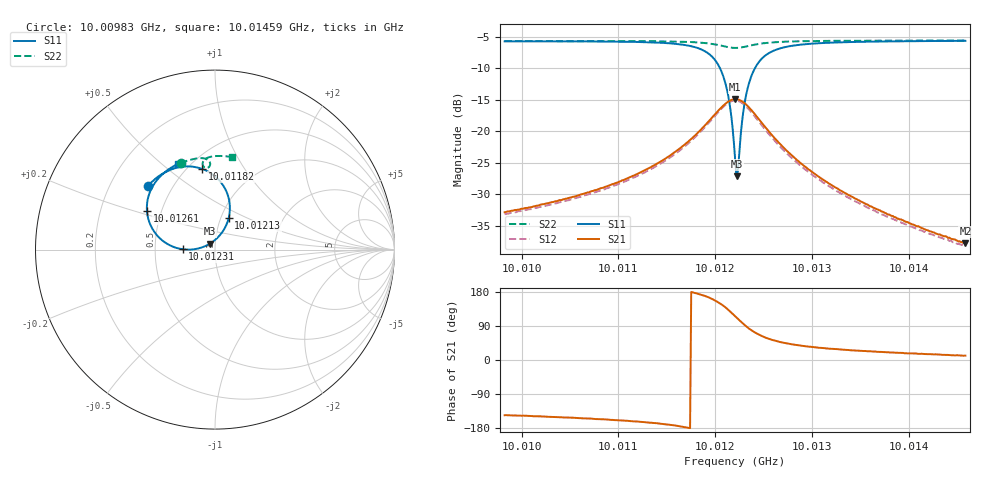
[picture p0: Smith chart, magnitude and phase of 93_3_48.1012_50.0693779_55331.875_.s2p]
#  HZ  S  RI  R  50.00
! Rohde & Schwarz Vector Network Analyzer
! Rohde-Schwarz,ZNB20-2Port,1311601062101988,3.16
! Created: UTC 12/23/2023, 3:44:00 AM
! freq[Hz]  re:S11  im:S11  re:S21  im:S21  re:S12  im:S12  re:S22  im:S22
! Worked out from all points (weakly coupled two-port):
!   401 points, 10.00983 GHz to 10.01459 GHz, reference 50 ohm
!   highest |S21| = -14.92 dB at 10.01221 GHz (marker M1); lowest = -37.8 dB at 10.01459 GHz (marker M2)
!   lowest |S11| = -27.2 dB at 10.01223 GHz (marker M3), VSWR 1.09, Z = 47.1 + j3.06 ohm
!   |S11| at or under -10 dB: 10.01205 GHz to 10.01241 GHz (361.9 kHz wide, 0.00361 % of centre)
!   |S22| runs from -6.8 to -5.6 dB; largest |S21 - S12| = 0.0088
!   S11 on the Smith chart (normalised r, x): 10.00983 GHz: 0.36, +0.35; 10.01182 GHz: 0.59, +0.67; 10.01213 GHz: 1.09, +0.40; 10.01231 GHz: 0.69, +0.00; 10.01261 GHz: 0.42, +0.22; 10.01459 GHz: 0.43, +0.57
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1.0009825e10  -0.3747 0.3545  -0.0187 -0.0128  -0.0174 -0.0133  -0.1921 0.4817
1.0010623e10  -0.319 0.4045  -0.0283 -0.0139  -0.0265 -0.0147  -0.1413 0.4994
1.0011003e10  -0.2805 0.4293  -0.0369 -0.014  -0.0348 -0.0154  -0.115 0.5058
1.001142e10  -0.2138 0.4559  -0.055 -0.0121  -0.0524 -0.0143  -0.0832 0.5098
1.0011825e10  -0.0712 0.4497  -0.0972 0.00929  -0.0944 0.00354  -0.0452 0.5034
1.0011944e10  0.00341 0.4056  -0.1171 0.0334  -0.1155 0.0265  -0.0331 0.494
1.0012027e10  0.0577 0.3365  -0.1279 0.0653  -0.1279 0.057  -0.0273 0.4824
1.0012086e10  0.0815 0.257  -0.1276 0.0962  -0.1286 0.0886  -0.0273 0.4717
1.0012134e10  0.0768 0.1772  -0.1164 0.1255  -0.119 0.1175  -0.031 0.4631
1.001217e10  0.0521 0.1156  -0.1002 0.1457  -0.1042 0.1379  -0.0367 0.4579
1.0012205e10  0.00857 0.061  -0.078 0.1616  -0.0823 0.1543  -0.0439 0.4551
1.0012229e10  -0.0293 0.0325  -0.0613 0.1679  -0.065 0.1616  -0.0494 0.4549
1.0012241e10  -0.0504 0.0213  -0.0525 0.1699  -0.0561 0.1637  -0.052 0.4553
1.0012289e10  -0.1382 -8.14e-05  -0.0178 0.1693  -0.0221 0.1633  -0.0612 0.46
1.0012312e10  -0.1801 0.00188  -0.00207 0.1645  -0.00686 0.1587  -0.0645 0.4636
1.001236e10  -0.2527 0.0247  0.0234 0.1493  0.0182 0.1444  -0.0685 0.472
1.001242e10  -0.3161 0.072  0.0426 0.1265  0.0366 0.1225  -0.0686 0.4824
1.0012503e10  -0.362 0.1425  0.0539 0.0969  0.0481 0.0945  -0.0639 0.4943
1.001261e10  -0.3793 0.216  0.055 0.0696  0.0501 0.0682  -0.0545 0.5042
1.0013003e10  -0.3478 0.3516  0.0391 0.0266  0.0358 0.0271  -0.0196 0.5181
1.00138e10  -0.2692 0.4393  0.0205 0.00739  0.0189 0.00815  0.0395 0.5215
1.0014585e10  -0.207 0.4776  0.0126 0.00258  0.0119 0.0031  0.092 0.516
